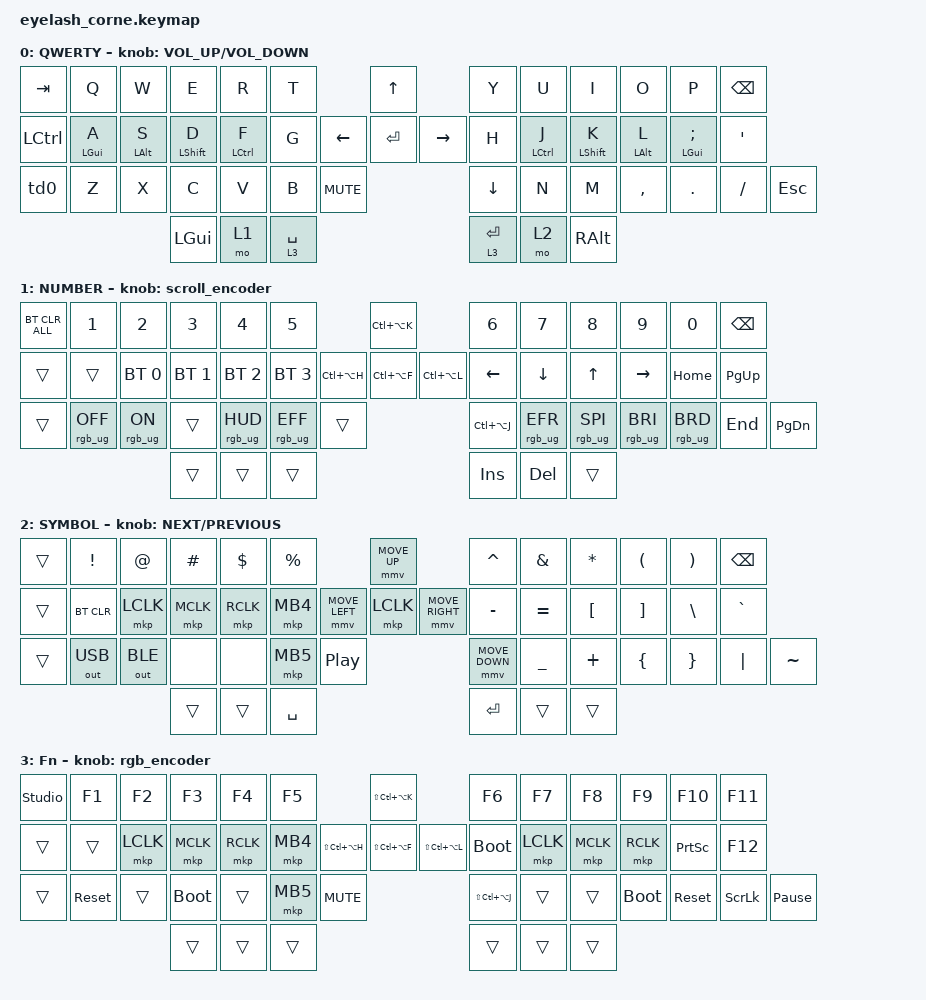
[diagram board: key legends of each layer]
#include <behaviors.dtsi>
#include <dt-bindings/zmk/bt.h>
#include <dt-bindings/zmk/keys.h>
#include <dt-bindings/zmk/mouse.h>
#include <dt-bindings/zmk/outputs.h>
#include <dt-bindings/zmk/rgb.h>

#include <input/processors.dtsi>

/*

   &mmv_input_listener {
       input-processors = <&zip_xy_scaler 2 1>;
   };

   &msc_input_listener {
       input-processors = <&zip_xy_scaler 2 1>;
   };

 */

#define ZMK_MOUSE_DEFAULT_MOVE_VAL 1200  // 600
#define ZMK_MOUSE_DEFAULT_SCRL_VAL 20    // 10

// Behavior configuration for homerow mods
&mt {
    tapping-term-ms = <200>;
    quick_tap_ms = <0>;
    flavor = "tap-preferred";
};

/ {
    macros {
        colon_eq: colon_eq {
            compatible = "zmk,behavior-macro";
            bindings = <&macro_tap>, <&kp COLON &kp EQUAL>;

            #binding-cells = <0>;
        };
    };

    combos {
        compatible = "zmk,combos";

        combo_esc {
            timeout-ms = <50>;
            key-positions = <22 23>;
            layers = <2>;
            bindings = <&colon_eq>;
        };
    };

    behaviors {
        td0: td0 {
            compatible = "zmk,behavior-tap-dance";
            display-name = "Shift/Caps Lock Tap Dance";
            #binding-cells = <0>;
            bindings = <&kp LEFT_SHIFT>, <&kp CAPS>;
        };
    };

    rgb_encoder: rgb_encoder {
        compatible = "zmk,behavior-sensor-rotate";
        #sensor-binding-cells = <0>;
        bindings = <&rgb_ug RGB_HUI>, <&rgb_ug RGB_HUD>;
    };

    scroll_encoder: scroll_encoder {
        compatible = "zmk,behavior-sensor-rotate";
        #sensor-binding-cells = <0>;
        bindings = <&msc SCRL_DOWN>, <&msc SCRL_UP>;
        tap-ms = <30>;
    };

    keymap {
        compatible = "zmk,keymap";

        default_layer {
            display-name = "QWERTY";
            bindings = <
&kp TAB    &kp Q  &kp W      &kp E     &kp R  &kp T                              &kp UP                &kp Y        &kp U  &kp I      &kp O    &kp P     &kp BSPC
&kp LCTRL   &mt LGUI A  &mt LALT S  &mt LSHFT D  &mt LCTRL F  &kp G        &kp LEFT  &kp ENTER  &kp RIGHT  &kp H  &mt LCTRL J  &mt LSHFT K  &mt LALT L  &mt LGUI SEMI  &kp SQT
&td0  &kp Z  &kp X      &kp C     &kp V  &kp B       &kp C_MUTE              &kp DOWN              &kp N        &kp M  &kp COMMA  &kp DOT  &kp FSLH  &kp ESC
                             &kp LGUI  &mo 1  &lt 3 SPACE                                              &lt 3 ENTER  &mo 2  &kp RALT
            >;
            sensor-bindings = <&inc_dec_kp C_VOLUME_UP C_VOLUME_DOWN>;
        };

        lower_layer {
            display-name = "NUMBER";
            bindings = <
&bt BT_CLR_ALL           &kp N1           &kp N2          &kp N3        &kp N4        &kp N5                              &kp LC(LA(K))                     &kp N6           &kp N7           &kp N8           &kp N9           &kp N0    &kp BSPC
&trans  &trans           &bt BT_SEL 0    &bt BT_SEL 1  &bt BT_SEL 2  &bt BT_SEL 3                           &kp LC(LA(H))  &kp LC(LA(F))       &kp LC(LA(L))  &kp LEFT         &kp DOWN         &kp UP           &kp RIGHT        &kp HOME  &kp PG_UP
&trans  &rgb_ug RGB_OFF  &rgb_ug RGB_ON  &trans        &rgb_ug RGB_HUD        &rgb_ug RGB_EFF &trans                    &kp LC(LA(J))                   &rgb_ug RGB_EFR  &rgb_ug RGB_SPI  &rgb_ug RGB_BRI  &rgb_ug RGB_BRD  &kp END   &kp PG_DN
                                         &trans        &trans        &trans                                                                         &kp INS          &kp DEL          &trans
            >;
            sensor-bindings = <&scroll_encoder>;
        };

        raise_layer {
            display-name = "SYMBOL";
            bindings = <
&trans  &kp EXCL      &kp AT        &kp HASH   &kp DLLR   &kp PRCNT                           &mmv MOVE_UP                     &kp CARET  &kp AMPS   &kp ASTRK  &kp LPAR  &kp RPAR  &kp BSPC
&trans  &bt BT_CLR    &mkp LCLK     &mkp MCLK  &mkp RCLK  &mkp MB4            &mmv MOVE_LEFT  &mkp LCLK       &mmv MOVE_RIGHT  &kp MINUS  &kp EQUAL  &kp LBKT   &kp RBKT  &kp BSLH  &kp GRAVE
&trans  &out OUT_USB  &out OUT_BLE  &none      &none      &mkp MB5  &kp C_PLAY_PAUSE                    &mmv MOVE_DOWN                   &kp UNDER  &kp PLUS   &kp LBRC   &kp RBRC  &kp PIPE  &kp TILDE
                                    &trans     &trans     &kp SPACE                                                            &kp RET    &trans     &trans
            >;
            sensor-bindings = <&inc_dec_kp C_NEXT C_PREVIOUS>;
        };

        layer_3 {
            display-name = "Fn";
            bindings = <
&studio_unlock   &kp F1      &kp F2      &kp F3       &kp F4     &kp F5                                  &kp LS(LC(LA(K)))                     &kp F6       &kp F7     &kp F8       &kp F9      &kp F10          &kp F11
&trans  &trans      &mkp LCLK   &mkp MCLK    &mkp RCLK  &mkp MB4                &kp LS(LC(LA(H)))  &kp LS(LC(LA(F)))      &kp LS(LC(LA(L)))  &bootloader  &mkp LCLK  &mkp MCLK    &mkp RCLK   &kp PRINTSCREEN  &kp F12
&trans  &sys_reset  &trans      &bootloader  &trans     &mkp MB5  &kp C_MUTE                    &kp LS(LC(LA(J)))                   &trans       &trans     &bootloader  &sys_reset  &kp SCROLLLOCK   &kp PAUSE_BREAK
                                &trans      &trans      &trans                                                                   &trans       &trans     &trans
            >;
            sensor-bindings = <&rgb_encoder>;
        };
    };
};
